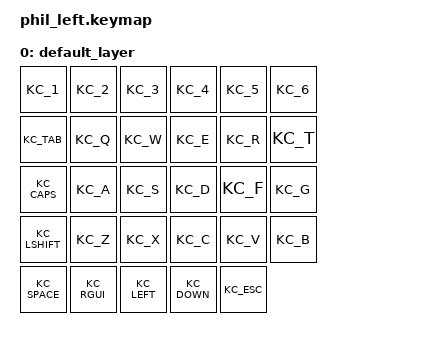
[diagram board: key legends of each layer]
#include <behaviors.dtsi>
#include <dt-bindings/zmk/keys.h>

/ {
    keymap {
        compatible = "zmk,keymap";

        default_layer {
            bindings = <
                &kp KC_1     &kp KC_2    &kp KC_3    &kp KC_4    &kp KC_5    &kp KC_6
                &kp KC_TAB   &kp KC_Q    &kp KC_W    &kp KC_E    &kp KC_R    &kp KC_T
                &kp KC_CAPS  &kp KC_A    &kp KC_S    &kp KC_D    &kp KC_F    &kp KC_G
                &kp KC_LSHIFT &kp KC_Z   &kp KC_X    &kp KC_C    &kp KC_V    &kp KC_B
                &kp KC_SPACE &kp KC_RGUI &kp KC_LEFT &kp KC_DOWN &kp KC_ESC
            >;
        };
    };
};
